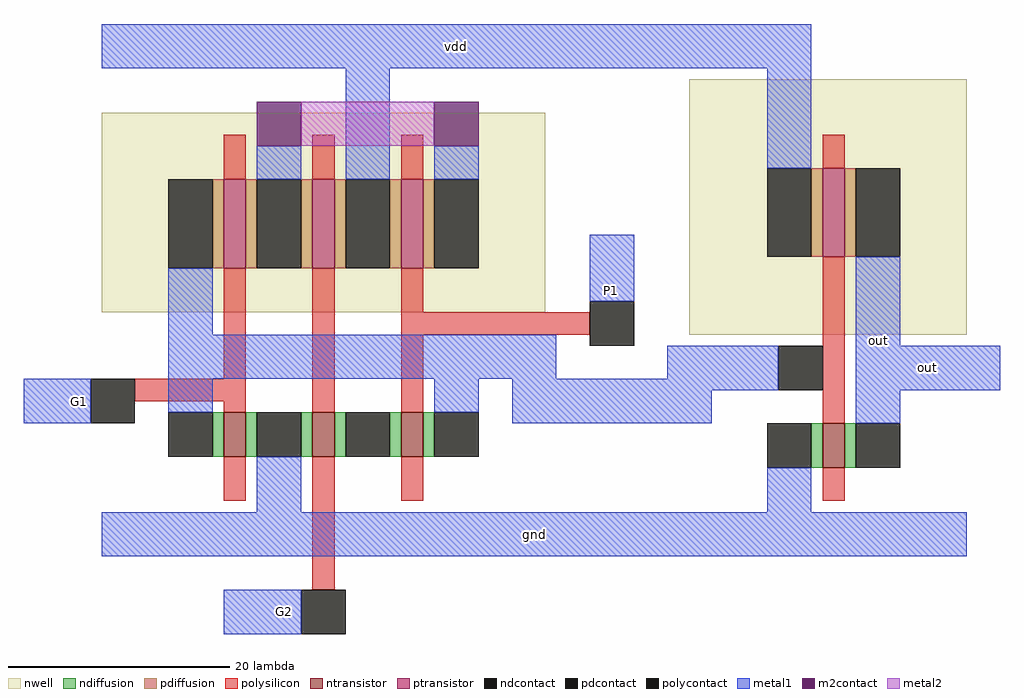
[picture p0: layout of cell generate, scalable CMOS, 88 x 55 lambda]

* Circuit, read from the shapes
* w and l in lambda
.subckt generate G1 G2 P1 gnd out vdd
M1 gnd G1 n1 VSUBS nfet w=4 l=2
M2 n2 G2 gnd VSUBS nfet w=4 l=2
M3 n1 P1 n2 VSUBS nfet w=4 l=2
M4 out n1 gnd VSUBS nfet w=4 l=2
M5 n3 G1 n1 n4 pfet w=8 l=2
M6 vdd G2 n3 n4 pfet w=8 l=2
M7 n3 P1 vdd n4 pfet w=8 l=2
M8 out n1 vdd n5 pfet w=8 l=2
.ends

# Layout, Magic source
magic
tech scmos
<< nwell >>
rect 5 27 45 45
rect 58 25 83 48
<< polysilicon >>
rect 16 39 18 43
rect 24 39 26 43
rect 32 39 34 43
rect 70 40 72 43
rect 16 21 18 31
rect 8 19 18 21
rect 16 18 18 19
rect 24 18 26 31
rect 32 27 34 31
rect 32 25 49 27
rect 32 18 34 25
rect 70 17 72 32
rect 16 10 18 14
rect 24 2 26 14
rect 32 10 34 14
rect 70 10 72 13
<< ndiffusion >>
rect 15 14 16 18
rect 18 14 19 18
rect 23 14 24 18
rect 26 14 27 18
rect 31 14 32 18
rect 34 14 35 18
rect 69 13 70 17
rect 72 13 73 17
<< pdiffusion >>
rect 15 31 16 39
rect 18 31 19 39
rect 23 31 24 39
rect 26 31 27 39
rect 31 31 32 39
rect 34 31 35 39
rect 69 32 70 40
rect 72 32 73 40
<< metal1 >>
rect 5 49 69 53
rect 19 39 23 42
rect 27 39 31 49
rect 35 39 39 42
rect 65 40 69 49
rect 11 25 15 31
rect 49 28 53 34
rect 11 21 46 25
rect 73 24 77 32
rect 56 21 66 24
rect -2 17 4 21
rect 11 18 15 21
rect 35 18 39 21
rect 42 20 66 21
rect 73 20 86 24
rect 42 17 60 20
rect 73 17 77 20
rect 19 9 23 14
rect 65 9 69 13
rect 5 5 83 9
rect 16 -2 23 2
<< metal2 >>
rect 23 42 35 46
<< ntransistor >>
rect 16 14 18 18
rect 24 14 26 18
rect 32 14 34 18
rect 70 13 72 17
<< ptransistor >>
rect 16 31 18 39
rect 24 31 26 39
rect 32 31 34 39
rect 70 32 72 40
<< polycontact >>
rect 4 17 8 21
rect 49 24 53 28
rect 66 20 70 24
rect 23 -2 27 2
<< ndcontact >>
rect 11 14 15 18
rect 19 14 23 18
rect 27 14 31 18
rect 35 14 39 18
rect 65 13 69 17
rect 73 13 77 17
<< pdcontact >>
rect 11 31 15 39
rect 19 31 23 39
rect 27 31 31 39
rect 35 31 39 39
rect 65 32 69 40
rect 73 32 77 40
<< m2contact >>
rect 19 42 23 46
rect 35 42 39 46
<< labels >>
rlabel metal1 5 5 83 9 1 gnd
rlabel metal1 49 24 53 34 1 P1
rlabel metal1 -2 17 8 21 3 G1
rlabel metal1 73 17 77 32 1 out
rlabel metal1 73 20 86 24 1 out
rlabel metal1 5 49 69 53 5 vdd
rlabel metal1 16 -2 27 2 1 G2
<< end >>
